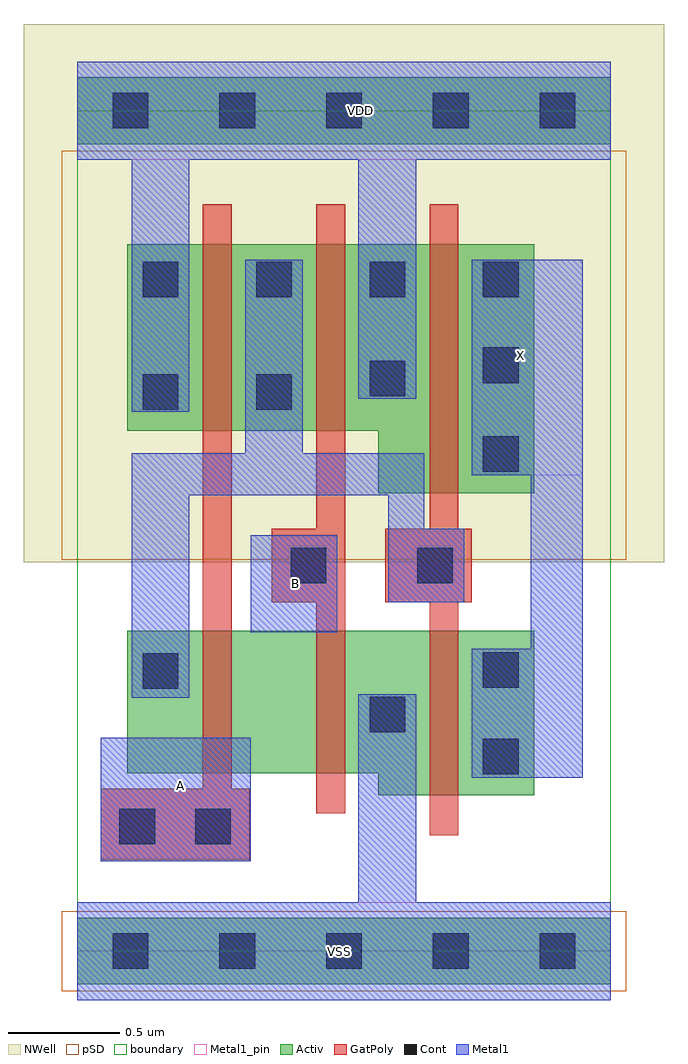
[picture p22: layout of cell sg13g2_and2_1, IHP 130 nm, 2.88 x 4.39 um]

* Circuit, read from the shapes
.subckt sg13g2_and2_1 A B VDD VSS X
XM1 n1 A n2 VSS sg13_lv_nmos w=0.64u l=0.13u
XM2 VSS B n1 VSS sg13_lv_nmos w=0.64u l=0.13u
XM3 X n2 VSS VSS sg13_lv_nmos w=0.74u l=0.13u
XM4 n2 A VDD VDD sg13_lv_pmos w=0.84u l=0.13u
XM5 VDD B n2 VDD sg13_lv_pmos w=0.84u l=0.13u
XM6 X n2 VDD VDD sg13_lv_pmos w=1.12u l=0.13u
.ends

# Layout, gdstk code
import gdstk
lib = gdstk.Library(unit=1e-6, precision=1e-09)
def R(c, l, rs):  # rectangles x0, y0, x1, y1
    for r in rs: c.add(gdstk.rectangle(r[:2], r[2:], *l))
def A(c, l, x, y, w, h, nx, ny, dx, dy):  # array of equal rectangles
    R(c, l, [(x+i*dx, y+j*dy, x+i*dx+w, y+j*dy+h) for i in range(nx) for j in range(ny)])
def P(c, l, *ps):  # polygons
    for p in ps: c.add(gdstk.Polygon(p, *l))
Activ = (1, 0)
GatPoly = (5, 0)
Cont = (6, 0)
Metal1 = (8, 0)
Metal1_pin = (8, 2)
pSD = (14, 0)
NWell = (31, 0)
boundary = (189, 4)

sg13g2_and2_1 = lib.new_cell('sg13g2_and2_1')
R(sg13g2_and2_1, Activ, [(0,-0.15,2.4,0.15), (0,3.63,2.4,3.93)])
P(sg13g2_and2_1, Activ, [(1.355,0.7),(1.355,0.8),(0.225,0.8),(0.225,1.44),(2.055,1.44),(2.055,0.7)],
  [(1.355,2.06),(1.355,2.34),(0.225,2.34),(0.225,3.18),(2.055,3.18),(2.055,2.06)])
P(sg13g2_and2_1, GatPoly, [(1.585,0.52),(1.585,1.57),(1.385,1.57),(1.385,1.9),(1.585,1.9),(1.585,3.36),(1.715,3.36),(1.715,1.9),(1.775,1.9),(1.775,1.57),(1.715,1.57),(1.715,0.52)],
  [(0.105,0.41),(0.105,0.73),(0.565,0.73),(0.565,3.36),(0.695,3.36),(0.695,0.73),(0.775,0.73),(0.775,0.41)],
  [(1.075,0.62),(1.075,1.57),(0.875,1.57),(0.875,1.9),(1.075,1.9),(1.075,3.36),(1.205,3.36),(1.205,0.62)])
A(sg13g2_and2_1, Cont, 0.16, -0.08, 0.16, 0.16, 5, 1, 0.48, 0)
A(sg13g2_and2_1, Cont, 0.295, 2.94, 0.16, 0.16, 4, 1, 0.51, 0)
R(sg13g2_and2_1, Cont, [(0.19,0.48,0.35,0.64), (0.53,0.48,0.69,0.64), (1.825,0.795,1.985,0.955), (1.315,0.985,1.475,1.145), (0.295,1.18,0.455,1.34), (1.825,1.185,1.985,1.345), (0.96,1.655,1.12,1.815), (1.53,1.655,1.69,1.815), (1.825,2.155,1.985,2.315), (0.295,2.435,0.455,2.595), (0.805,2.435,0.965,2.595), (1.315,2.495,1.475,2.655), (1.825,2.555,1.985,2.715), (0.16,3.7,0.32,3.86), (0.16,3.7,0.32,3.86), (0.16,3.7,0.32,3.86), (0.64,3.7,0.8,3.86), (0.64,3.7,0.8,3.86), (1.12,3.7,1.28,3.86), (1.12,3.7,1.28,3.86), (1.6,3.7,1.76,3.86), (1.6,3.7,1.76,3.86), (2.08,3.7,2.24,3.86), (2.08,3.7,2.24,3.86)])
R(sg13g2_and2_1, Metal1, [(0.105,0.405,0.78,0.96), (0.78,1.435,1.17,1.87)])
P(sg13g2_and2_1, Metal1, [(0.245,1.14),(0.245,2.24),(0.755,2.24),(0.755,3.11),(1.015,3.11),(1.015,2.24),(1.56,2.24),(1.56,1.9),(1.74,1.9),(1.74,1.57),(1.4,1.57),(1.4,2.05),(0.505,2.05),(0.505,1.14)],
  [(1.775,0.78),(1.775,1.36),(2.04,1.36),(2.04,2.14),(1.775,2.14),(1.775,3.11),(2.275,3.11),(2.275,0.78)],
  [(0.245,2.425),(0.245,3.56),(0,3.56),(0,4),(2.4,4),(2.4,3.56),(1.525,3.56),(1.525,2.485),(1.265,2.485),(1.265,3.56),(0.505,3.56),(0.505,2.425)],
  [(0,-0.22),(0,0.22),(1.265,0.22),(1.265,1.155),(1.525,1.155),(1.525,0.22),(2.4,0.22),(2.4,-0.22)])
R(sg13g2_and2_1, Metal1_pin, [(0,-0.22,2.4,0.22), (0.105,0.405,0.78,0.96), (0.78,1.435,1.17,1.87), (1.775,2.14,2.275,3.11), (0,3.56,2.4,4)])
R(sg13g2_and2_1, pSD, [(-0.07,-0.18,2.47,0.18), (-0.07,1.76,0.55,3.6), (-0.07,1.76,2.47,3.6)])
R(sg13g2_and2_1, NWell, [(-0.24,1.75,2.64,4.17)])
R(sg13g2_and2_1, boundary, [(0,0,2.4,3.78)])
sg13g2_and2_1.add(gdstk.Label('X', (1.995,2.68), layer=8, texttype=25))
sg13g2_and2_1.add(gdstk.Label('VSS', (1.18,0), layer=8, texttype=25))
sg13g2_and2_1.add(gdstk.Label('VDD', (1.275,3.78), layer=8, texttype=25))
sg13g2_and2_1.add(gdstk.Label('B', (0.98,1.655), layer=8, texttype=25))
sg13g2_and2_1.add(gdstk.Label('A', (0.465,0.745), layer=8, texttype=25))

lib.write_gds('sg13g2_and2_1.gds')
